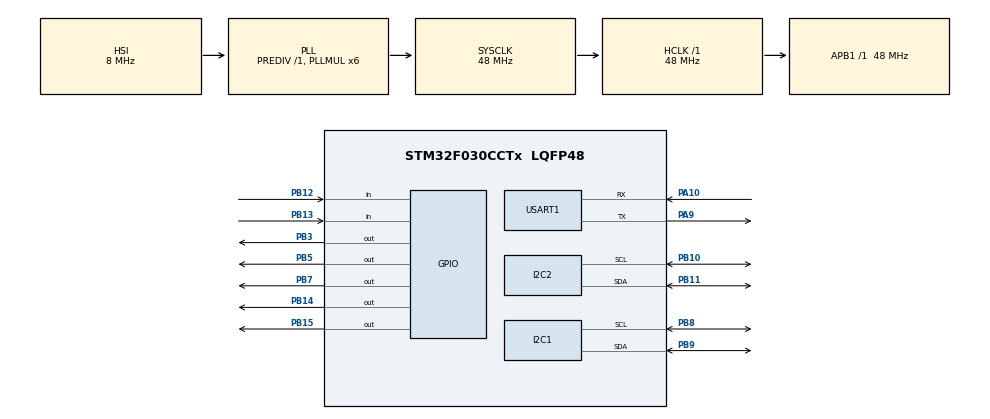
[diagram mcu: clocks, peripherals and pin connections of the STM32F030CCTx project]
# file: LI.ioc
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I2C2.Timing=0x20303E5D
Mcu.Family=STM32F0
Mcu.Name=STM32F030CCTx
Mcu.Package=LQFP48
PA10.Mode=Asynchronous
PA10.Signal=USART1_RX
PA9.Mode=Asynchronous
PA9.Signal=USART1_TX
PB10.Mode=I2C
PB10.Signal=I2C2_SCL
PB11.Mode=I2C
PB11.Signal=I2C2_SDA
PB12.GPIO_PuPd=GPIO_PULLDOWN
PB12.Signal=GPIO_Input
PB13.GPIO_PuPd=GPIO_PULLDOWN
PB13.Signal=GPIO_Input
PB14.GPIO_PuPd=GPIO_PULLUP
PB14.GPIO_Speed=GPIO_SPEED_FREQ_HIGH
PB14.PinState=GPIO_PIN_SET
PB14.Signal=GPIO_Output
PB15.GPIO_ModeDefaultOutputPP=GPIO_MODE_OUTPUT_PP
PB15.GPIO_PuPd=GPIO_PULLUP
PB15.GPIO_Speed=GPIO_SPEED_FREQ_HIGH
PB15.PinState=GPIO_PIN_SET
PB15.Signal=GPIO_Output
PB3.GPIO_PuPd=GPIO_PULLUP
PB3.PinState=GPIO_PIN_SET
PB3.Signal=GPIO_Output
PB5.GPIO_ModeDefaultOutputPP=GPIO_MODE_OUTPUT_PP
PB5.GPIO_PuPd=GPIO_PULLDOWN
PB5.Signal=GPIO_Output
PB7.GPIO_PuPd=GPIO_PULLUP
PB7.GPIO_Speed=GPIO_SPEED_FREQ_HIGH
PB7.PinState=GPIO_PIN_SET
PB7.Signal=GPIO_Output
PB8.Mode=I2C
PB8.Signal=I2C1_SCL
PB9.Mode=I2C
PB9.Signal=I2C1_SDA
ProjectManager.HeapSize=0x200
ProjectManager.StackSize=0x400
ProjectManager.TargetToolchain=MDK-ARM V5.32
RCC.AHBFreq_Value=48000000
RCC.APB1Freq_Value=48000000
RCC.APB1TimFreq_Value=48000000
RCC.HCLKFreq_Value=48000000
RCC.PLLMUL=RCC_PLL_MUL6
RCC.SYSCLKFreq_VALUE=48000000
RCC.SYSCLKSource=RCC_SYSCLKSOURCE_PLLCLK
USART1.VirtualMode-Asynchronous=VM_ASYNC
board=custom

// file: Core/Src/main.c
/* USER CODE BEGIN Header */
/**
  ******************************************************************************
  * @file           : main.c
  * @brief          : Main program body
  ******************************************************************************
  * @attention
  *
  * <h2><center>&copy; Copyright (c) 2025 STMicroelectronics.
  * All rights reserved.</center></h2>
  *
  * This software component is licensed by ST under BSD 3-Clause license,
  * the "License"; You may not use this file except in compliance with the
  * License. You may obtain a copy of the License at:
  *                        opensource.org/licenses/BSD-3-Clause
  *
  ******************************************************************************
  */
/* USER CODE END Header */
#include "main.h"

/* USER CODE BEGIN Includes */
#include "key.h"
#include "au5612.h"
#include "gsv2011.h"
#include "av_main.h"
/* USER CODE END Includes */

I2C_HandleTypeDef hi2c1;
I2C_HandleTypeDef hi2c2;

UART_HandleTypeDef huart1;

void SystemClock_Config(void);
static void MX_GPIO_Init(void);
static void MX_USART1_UART_Init(void);
static void MX_I2C1_Init(void);
static void MX_I2C2_Init(void);

/* USER CODE BEGIN 0 */
int fputc(int ch, FILE *f)
{
  HAL_UART_Transmit(&huart1, (uint8_t *)&ch, 1, HAL_MAX_DELAY);
  return ch;
}
/* USER CODE END 0 */

int main(void)
{

  /* MCU Configuration--------------------------------------------------------*/

  /* Reset of all peripherals, Initializes the Flash interface and the Systick. */
  HAL_Init();

  /* Configure the system clock */
  SystemClock_Config();

  /* Initialize all configured peripherals */
  MX_GPIO_Init();
  MX_USART1_UART_Init();
  MX_I2C1_Init();
  MX_I2C2_Init();
  /* USER CODE BEGIN 2 */
  printf("Hello Greemo\r\n");
  printf("Shenzhen Greenmol Technology Co., Ltd\r\n");
  printf("Version: 1.0.0\r\n");
  printf("Build Time: %s %s\r\n", __DATE__, __TIME__);

  key_init();
  au5612_init();
  gsv2011_init();

  /* USER CODE END 2 */

  /* Infinite loop */
  /* USER CODE BEGIN WHILE */
  GsvMain();
  while (1)
  {
	  // printf("Hello Greemol\n");
    // printf("Shenzhen Greenmol Technology Co., Ltd\n");
    // HAL_GPIO_TogglePin(GPIOB, GPIO_PIN_14);
    // HAL_Delay(1000);
    // HAL_GPIO_TogglePin(GPIOB, GPIO_PIN_15);
    // HAL_Delay(1000);
    /* 按下后抬起才生效：只触发�??�?? */
    if (key_press_release_event(KEY_1))
    {
      printf("KEY_1 press-release\r\n");
    }
    if (key_press_release_event(KEY_2))
    {
      printf("KEY_2 press-release\r\n");
    }
    /* USER CODE END WHILE */

  }
}

void SystemClock_Config(void)
{
  RCC_OscInitTypeDef RCC_OscInitStruct = {0};
  RCC_ClkInitTypeDef RCC_ClkInitStruct = {0};
  RCC_PeriphCLKInitTypeDef PeriphClkInit = {0};

  /** Initializes the RCC Oscillators according to the specified parameters
  * in the RCC_OscInitTypeDef structure.
  */
  RCC_OscInitStruct.OscillatorType = RCC_OSCILLATORTYPE_HSI;
  RCC_OscInitStruct.HSIState = RCC_HSI_ON;
  RCC_OscInitStruct.HSICalibrationValue = RCC_HSICALIBRATION_DEFAULT;
  RCC_OscInitStruct.PLL.PLLState = RCC_PLL_ON;
  RCC_OscInitStruct.PLL.PLLSource = RCC_PLLSOURCE_HSI;
  RCC_OscInitStruct.PLL.PLLMUL = RCC_PLL_MUL6;
  RCC_OscInitStruct.PLL.PREDIV = RCC_PREDIV_DIV1;
  if (HAL_RCC_OscConfig(&RCC_OscInitStruct) != HAL_OK)
  {
    Error_Handler();
  }
  /** Initializes the CPU, AHB and APB buses clocks
  */
  RCC_ClkInitStruct.ClockType = RCC_CLOCKTYPE_HCLK|RCC_CLOCKTYPE_SYSCLK
                              |RCC_CLOCKTYPE_PCLK1;
  RCC_ClkInitStruct.SYSCLKSource = RCC_SYSCLKSOURCE_PLLCLK;
  RCC_ClkInitStruct.AHBCLKDivider = RCC_SYSCLK_DIV1;
  RCC_ClkInitStruct.APB1CLKDivider = RCC_HCLK_DIV1;

  if (HAL_RCC_ClockConfig(&RCC_ClkInitStruct, FLASH_LATENCY_1) != HAL_OK)
  {
    Error_Handler();
  }
  PeriphClkInit.PeriphClockSelection = RCC_PERIPHCLK_USART1|RCC_PERIPHCLK_I2C1;
  PeriphClkInit.Usart1ClockSelection = RCC_USART1CLKSOURCE_PCLK1;
  PeriphClkInit.I2c1ClockSelection = RCC_I2C1CLKSOURCE_HSI;
  if (HAL_RCCEx_PeriphCLKConfig(&PeriphClkInit) != HAL_OK)
  {
    Error_Handler();
  }
}

static void MX_I2C1_Init(void)
{

  hi2c1.Instance = I2C1;
  hi2c1.Init.Timing = 0x2000090E;
  hi2c1.Init.OwnAddress1 = 0;
  hi2c1.Init.AddressingMode = I2C_ADDRESSINGMODE_7BIT;
  hi2c1.Init.DualAddressMode = I2C_DUALADDRESS_DISABLE;
  hi2c1.Init.OwnAddress2 = 0;
  hi2c1.Init.OwnAddress2Masks = I2C_OA2_NOMASK;
  hi2c1.Init.GeneralCallMode = I2C_GENERALCALL_DISABLE;
  hi2c1.Init.NoStretchMode = I2C_NOSTRETCH_DISABLE;
  if (HAL_I2C_Init(&hi2c1) != HAL_OK)
  {
    Error_Handler();
  }
  /** Configure Analogue filter
  */
  if (HAL_I2CEx_ConfigAnalogFilter(&hi2c1, I2C_ANALOGFILTER_ENABLE) != HAL_OK)
  {
    Error_Handler();
  }
  /** Configure Digital filter
  */
  if (HAL_I2CEx_ConfigDigitalFilter(&hi2c1, 0) != HAL_OK)
  {
    Error_Handler();
  }

}

static void MX_I2C2_Init(void)
{

  hi2c2.Instance = I2C2;
  hi2c2.Init.Timing = 0x20303E5D;
  hi2c2.Init.OwnAddress1 = 0;
  hi2c2.Init.AddressingMode = I2C_ADDRESSINGMODE_7BIT;
  hi2c2.Init.DualAddressMode = I2C_DUALADDRESS_DISABLE;
  hi2c2.Init.OwnAddress2 = 0;
  hi2c2.Init.OwnAddress2Masks = I2C_OA2_NOMASK;
  hi2c2.Init.GeneralCallMode = I2C_GENERALCALL_DISABLE;
  hi2c2.Init.NoStretchMode = I2C_NOSTRETCH_DISABLE;
  if (HAL_I2C_Init(&hi2c2) != HAL_OK)
  {
    Error_Handler();
  }
  /** Configure Analogue filter
  */
  if (HAL_I2CEx_ConfigAnalogFilter(&hi2c2, I2C_ANALOGFILTER_ENABLE) != HAL_OK)
  {
    Error_Handler();
  }
  /** Configure Digital filter
  */
  if (HAL_I2CEx_ConfigDigitalFilter(&hi2c2, 0) != HAL_OK)
  {
    Error_Handler();
  }

}

static void MX_USART1_UART_Init(void)
{

  huart1.Instance = USART1;
  huart1.Init.BaudRate = 115200;
  huart1.Init.WordLength = UART_WORDLENGTH_8B;
  huart1.Init.StopBits = UART_STOPBITS_1;
  huart1.Init.Parity = UART_PARITY_NONE;
  huart1.Init.Mode = UART_MODE_TX_RX;
  huart1.Init.HwFlowCtl = UART_HWCONTROL_NONE;
  huart1.Init.OverSampling = UART_OVERSAMPLING_16;
  huart1.Init.OneBitSampling = UART_ONE_BIT_SAMPLE_DISABLE;
  huart1.AdvancedInit.AdvFeatureInit = UART_ADVFEATURE_NO_INIT;
  if (HAL_UART_Init(&huart1) != HAL_OK)
  {
    Error_Handler();
  }

}

static void MX_GPIO_Init(void)
{
  GPIO_InitTypeDef GPIO_InitStruct = {0};

  /* GPIO Ports Clock Enable */
  __HAL_RCC_GPIOB_CLK_ENABLE();
  __HAL_RCC_GPIOA_CLK_ENABLE();

  /*Configure GPIO pin Output Level */
  HAL_GPIO_WritePin(GPIOB, GPIO_PIN_14|GPIO_PIN_15|GPIO_PIN_3|GPIO_PIN_7, GPIO_PIN_SET);

  /*Configure GPIO pin Output Level */
  HAL_GPIO_WritePin(GPIOB, GPIO_PIN_5, GPIO_PIN_RESET);

  /*Configure GPIO pins : PB12 PB13 */
  GPIO_InitStruct.Pin = GPIO_PIN_12|GPIO_PIN_13;
  GPIO_InitStruct.Mode = GPIO_MODE_INPUT;
  GPIO_InitStruct.Pull = GPIO_PULLDOWN;
  HAL_GPIO_Init(GPIOB, &GPIO_InitStruct);

  /*Configure GPIO pins : PB14 PB15 PB7 */
  GPIO_InitStruct.Pin = GPIO_PIN_14|GPIO_PIN_15|GPIO_PIN_7;
  GPIO_InitStruct.Mode = GPIO_MODE_OUTPUT_PP;
  GPIO_InitStruct.Pull = GPIO_PULLUP;
  GPIO_InitStruct.Speed = GPIO_SPEED_FREQ_HIGH;
  HAL_GPIO_Init(GPIOB, &GPIO_InitStruct);

  /*Configure GPIO pin : PB3 */
  GPIO_InitStruct.Pin = GPIO_PIN_3;
  GPIO_InitStruct.Mode = GPIO_MODE_OUTPUT_PP;
  GPIO_InitStruct.Pull = GPIO_PULLUP;
  GPIO_InitStruct.Speed = GPIO_SPEED_FREQ_LOW;
  HAL_GPIO_Init(GPIOB, &GPIO_InitStruct);

  /*Configure GPIO pin : PB5 */
  GPIO_InitStruct.Pin = GPIO_PIN_5;
  GPIO_InitStruct.Mode = GPIO_MODE_OUTPUT_PP;
  GPIO_InitStruct.Pull = GPIO_PULLDOWN;
  GPIO_InitStruct.Speed = GPIO_SPEED_FREQ_LOW;
  HAL_GPIO_Init(GPIOB, &GPIO_InitStruct);

}

void Error_Handler(void)
{
  __disable_irq();
  while (1)
  {
  }
}

/************************ (C) COPYRIGHT STMicroelectronics *****END OF FILE****/
